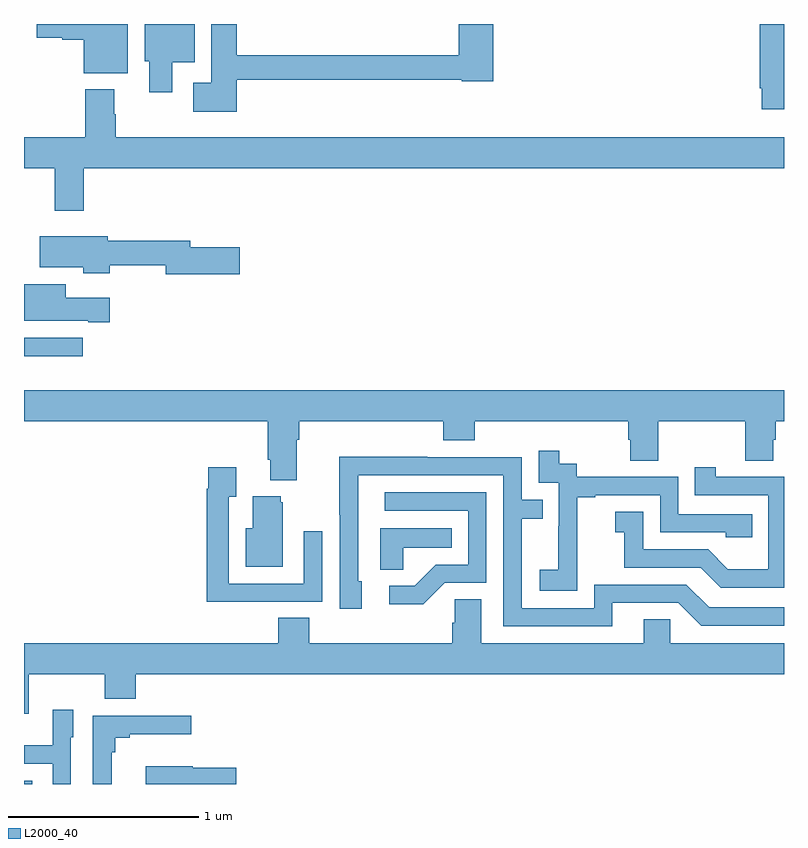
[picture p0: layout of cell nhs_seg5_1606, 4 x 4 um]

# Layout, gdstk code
import gdstk
lib = gdstk.Library(unit=1e-6, precision=1e-09)
def R(c, l, rs):  # rectangles x0, y0, x1, y1
    for r in rs: c.add(gdstk.rectangle(r[:2], r[2:], *l))
def P(c, l, *ps):  # polygons
    for p in ps: c.add(gdstk.Polygon(p, *l))
L2000_40 = (2000, 40)

nhs_seg5_1606 = lib.new_cell('nhs_seg5_1606')
R(nhs_seg5_1606, L2000_40, [(207,906.799,207.043,906.817), (207,909.05,207.31,909.147)])
P(nhs_seg5_1606, L2000_40, [(207.781,910.598),(207.898,910.598),(207.898,910.799),(207.635,910.799),(207.635,910.602),(207.659,910.602),(207.659,910.44),(207.781,910.44)],
  [(207.547,910.799),(207.068,910.799),(207.068,910.727),(207.201,910.727),(207.201,910.715),(207.314,910.715),(207.314,910.541),(207.547,910.541)],
  [(208.121,910.506),(209.304,910.506),(209.304,910.498),(209.471,910.498),(209.471,910.799),(209.288,910.799),(209.288,910.634),(208.121,910.634),(208.121,910.799),(207.986,910.799),(207.986,910.489),(207.891,910.489),(207.891,910.337),(208.121,910.337)],
  [(211,910.799),(210.872,910.799),(210.872,910.462),(210.884,910.462),(210.884,910.35),(211,910.35)],
  [(207.314,910.04),(211,910.04),(211,910.204),(207.483,910.204),(207.483,910.325),(207.475,910.325),(207.475,910.456),(207.323,910.456),(207.323,910.204),(207,910.204),(207,910.04),(207.161,910.04),(207.161,909.816),(207.314,909.816)],
  [(208.135,909.624),(207.874,909.624),(207.874,909.658),(207.442,909.658),(207.442,909.682),(207.083,909.682),(207.083,909.518),(207.313,909.518),(207.313,909.488),(207.45,909.488),(207.45,909.529),(207.746,909.529),(207.746,909.482),(208.135,909.482)],
  [(207.451,909.358),(207.22,909.358),(207.22,909.43),(207,909.43),(207,909.236),(207.338,909.236),(207.338,909.229),(207.451,909.229)],
  [(208.435,908.612),(208.448,908.612),(208.448,908.708),(209.207,908.708),(209.207,908.609),(209.372,908.609),(209.372,908.708),(210.179,908.708),(210.179,908.61),(210.191,908.61),(210.191,908.5),(210.339,908.5),(210.339,908.708),(210.796,908.708),(210.796,908.5),(210.943,908.5),(210.943,908.61),(210.956,908.61),(210.956,908.708),(211,908.708),(211,908.872),(207,908.872),(207,908.708),(208.283,908.708),(208.283,908.506),(208.295,908.506),(208.295,908.399),(208.435,908.399)],
  [(209.913,908.023),(209.912,908.023),(209.912,908.307),(210.007,908.307),(210.007,908.319),(210.348,908.319),(210.348,908.124),(210.693,908.124),(210.693,908.097),(210.833,908.097),(210.833,908.22),(210.444,908.22),(210.444,908.415),(209.91,908.415),(209.91,908.484),(209.818,908.484),(209.818,908.554),(209.709,908.554),(209.709,908.385),(209.814,908.385),(209.814,908.156),(209.813,908.156),(209.813,907.927),(209.715,907.927),(209.715,907.817),(209.913,907.817)],
  [(210.097,907.752),(210.444,907.752),(210.564,907.632),(211,907.632),(211,907.728),(210.606,907.728),(210.486,907.848),(210,907.848),(210,907.725),(209.619,907.725),(209.619,908.194),(209.729,908.194),(209.729,908.295),(209.619,908.295),(209.619,908.52),(209.123,908.52),(209.123,908.522),(208.66,908.522),(208.66,908.215),(208.662,908.215),(208.662,907.722),(208.777,907.722),(208.777,907.866),(208.758,907.866),(208.758,908.424),(209.523,908.424),(209.523,907.629),(210.097,907.629)],
  [(211,908.415),(210.64,908.415),(210.64,908.467),(210.529,908.467),(210.529,908.319),(210.918,908.319),(210.918,907.93),(210.704,907.93),(210.6,908.034),(210.258,908.034),(210.258,908.233),(210.111,908.233),(210.111,908.123),(210.16,908.123),(210.16,907.938),(210.563,907.938),(210.668,907.833),(211,907.833)],
  [(208.253,907.758),(208.569,907.758),(208.569,908.128),(208.473,908.128),(208.473,907.854),(208.077,907.854),(208.077,908.311),(208.117,908.311),(208.117,908.467),(207.969,908.467),(207.969,908.354),(207.961,908.354),(207.961,907.757),(208.253,907.757)],
  [(209.214,907.857),(209.433,907.857),(209.433,908.334),(208.899,908.334),(208.899,908.238),(209.337,908.238),(209.337,907.953),(209.168,907.953),(209.057,907.842),(208.923,907.842),(208.923,907.745),(209.101,907.745)],
  [(208.363,908.283),(208.352,908.283),(208.352,908.314),(208.205,908.314),(208.205,908.146),(208.166,908.146),(208.166,907.943),(208.363,907.943)],
  [(208.995,908.042),(209.252,908.042),(209.252,908.146),(208.874,908.146),(208.874,907.927),(208.995,907.927)],
  [(207.025,907.376),(207.425,907.376),(207.425,907.248),(207.589,907.248),(207.589,907.376),(211,907.376),(211,907.54),(210.402,907.54),(210.402,907.667),(210.263,907.667),(210.263,907.54),(209.407,907.54),(209.407,907.772),(209.268,907.772),(209.268,907.649),(209.255,907.649),(209.255,907.54),(208.502,907.54),(208.502,907.673),(208.337,907.673),(208.337,907.54),(207,907.54),(207,907.17),(207.025,907.17)],
  [(207.246,907.044),(207.259,907.044),(207.259,907.189),(207.15,907.189),(207.15,907.003),(207,907.003),(207,906.906),(207.15,906.906),(207.15,906.799),(207.246,906.799)],
  [(207.461,906.965),(207.479,906.965),(207.479,907.042),(207.556,907.042),(207.556,907.061),(207.88,907.061),(207.88,907.158),(207.363,907.158),(207.363,906.799),(207.461,906.799)],
  [(208.117,906.884),(207.888,906.884),(207.888,906.892),(207.641,906.892),(207.641,906.799),(208.117,906.799)])

lib.write_gds('nhs_seg5_1606.gds')
